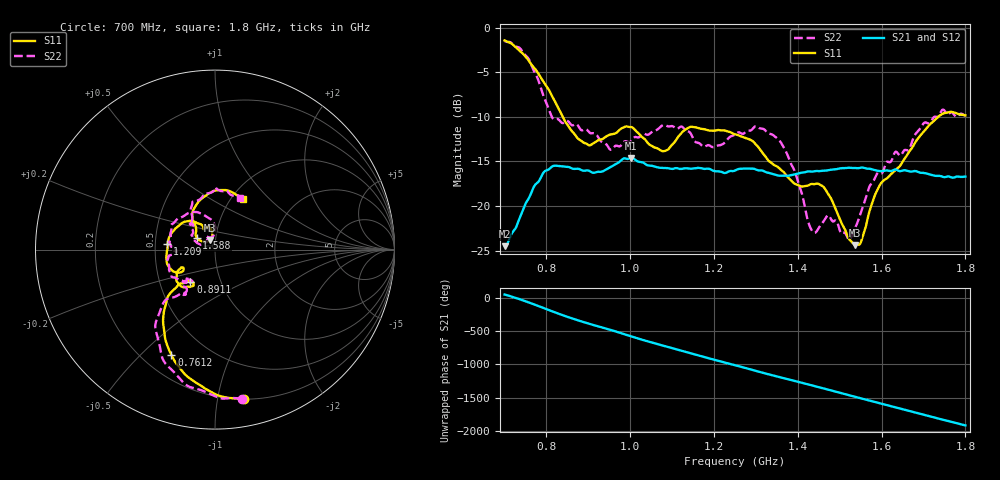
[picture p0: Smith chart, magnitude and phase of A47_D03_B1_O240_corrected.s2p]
! Created with skrf 1.9.0 (http://scikit-rf.org).
# Hz S RI R 50.0
!freq ReS11 ImS11 ReS21 ImS21 ReS12 ImS12 ReS22 ImS22
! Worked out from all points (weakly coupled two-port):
!   1601 points, 700 MHz to 1.8 GHz, reference 50 ohm
!   highest |S21| = -14.61 dB at 1.002 GHz (marker M1); lowest = -24.5 dB at 700.7 MHz (marker M2)
!   lowest |S11| = -24.4 dB at 1.537 GHz (marker M3), VSWR 1.13, Z = 47.1 + j5.13 ohm
!   |S11| at or under -10 dB: 838.6 MHz to 1.735 GHz (896.1 MHz wide, 69.6 % of centre)
!   |S22| runs from -23.8 to -1.5 dB; largest |S21 - S12| = 0.0035
!   S11 on the Smith chart (normalised r, x): 700 MHz: 0.20, -1.19; 761.2 MHz: 0.32, -0.62; 891.1 MHz: 0.72, -0.27; 1.209 GHz: 0.58, +0.04; 1.588 GHz: 0.81, +0.11; 1.8 GHz: 1.12, +0.71
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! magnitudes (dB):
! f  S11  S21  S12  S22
! 700 MHz  -1.4  -24.5  -24.3  -1.5
! 700.7 MHz  -1.4  -24.5  -24.2  -1.5
! 761.2 MHz  -4.0  -18.8  -18.7  -3.9
! 814.8 MHz  -7.8  -15.5  -15.6  -10.2
! 883.6 MHz  -12.7  -16.0  -15.9  -11.5
! 891.1 MHz  -13.0  -16.1  -16.1  -11.4
! 953 MHz  -12.0  -15.6  -15.6  -13.7
! 1.002 GHz  -11.1  -14.6  -14.7  -12.7
! 1.067 GHz  -13.6  -15.7  -15.6  -11.3
! 1.142 GHz  -11.1  -15.8  -15.8  -11.7
! 1.209 GHz  -11.5  -16.1  -16.1  -13.2
! 1.25 GHz  -12.0  -16.0  -15.9  -12.0
! 1.356 GHz  -15.8  -16.6  -16.5  -12.6
! 1.434 GHz  -17.5  -16.1  -16.1  -22.8
! 1.465 GHz  -18.1  -16.0  -16.0  -21.4
! 1.522 GHz  -23.7  -15.7  -15.7  -23.8
! 1.537 GHz  -24.4  -15.7  -15.8  -22.4
! 1.552 GHz  -23.9  -15.7  -15.7  -20.5
! 1.588 GHz  -18.3  -16.0  -16.0  -16.5
! 1.617 GHz  -16.7  -16.1  -16.0  -15.1
! 1.737 GHz  -9.9  -16.6  -16.7  -9.9
! 1.8 GHz  -9.8  -16.7  -16.7  -9.9
